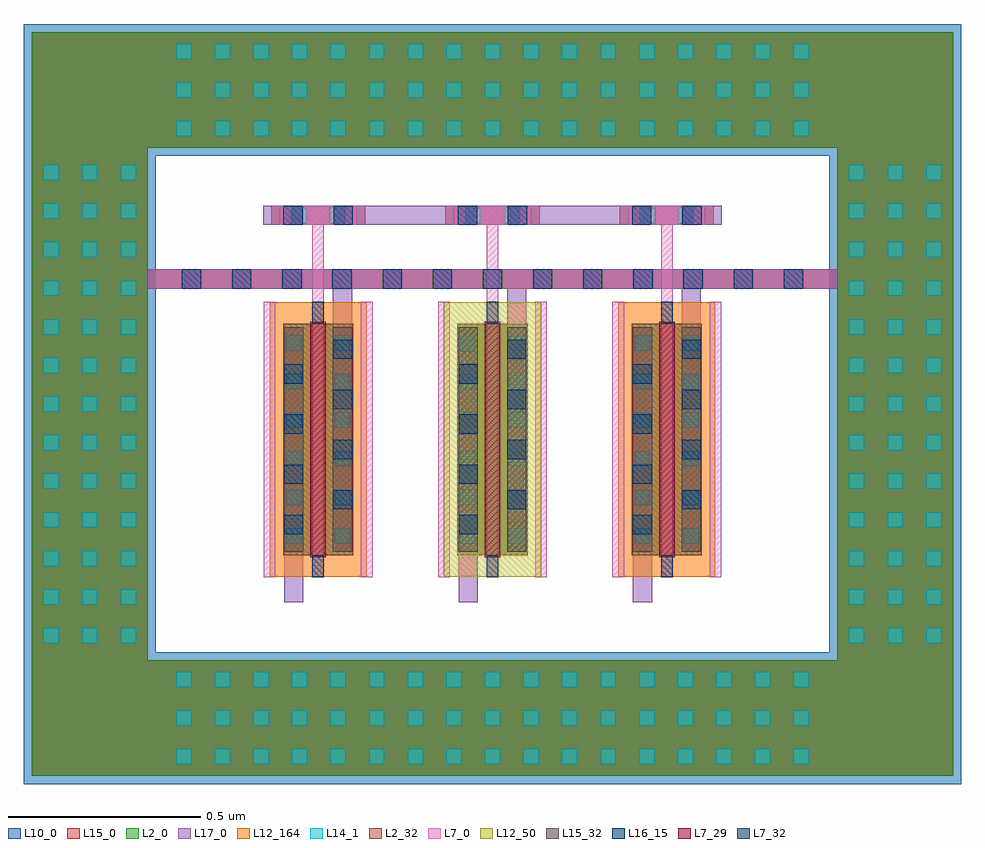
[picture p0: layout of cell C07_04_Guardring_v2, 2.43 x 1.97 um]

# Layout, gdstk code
import gdstk
lib = gdstk.Library(unit=1e-6, precision=1e-09)
def R(c, l, rs):  # rectangles x0, y0, x1, y1
    for r in rs: c.add(gdstk.rectangle(r[:2], r[2:], *l))
def A(c, l, x, y, w, h, nx, ny, dx, dy):  # array of equal rectangles
    R(c, l, [(x+i*dx, y+j*dy, x+i*dx+w, y+j*dy+h) for i in range(nx) for j in range(ny)])
L2_0 = (2, 0)
L2_32 = (2, 32)
L7_0 = (7, 0)
L7_29 = (7, 29)
L7_32 = (7, 32)
L10_0 = (10, 0)
L12_50 = (12, 50)
L12_164 = (12, 164)
L14_1 = (14, 1)
L15_0 = (15, 0)
L15_32 = (15, 32)
L16_15 = (16, 15)
L17_0 = (17, 0)

c07_04_guardring_v2_srf_ = lib.new_cell('C07_04_Guardring_v2:SRF_Tr12Tr3Tr10:SRF_Tr12:SRF_Source_ViaM1M2:SRF_ViaM1M2')
R(c07_04_guardring_v2_srf_, L15_0, [(0,-0.422,0.05,0.082)])
A(c07_04_guardring_v2_srf_, L16_15, 0, -0.39, 0.05, 0.05, 1, 4, 0, 0.13)
R(c07_04_guardring_v2_srf_, L17_0, [(0,-0.422,0.05,0.082)])

c_c07_04_guardring_v2_srf_ = lib.new_cell('C07_04_Guardring_v2:SRF_Tr12Tr3Tr10:SRF_Tr12:SRF_Source_ViaM1M2')
c_c07_04_guardring_v2_srf_.add(gdstk.Reference(c07_04_guardring_v2_srf_, (-0.025,0.17)))

c_c07_04_guardring_v2_srf__ = lib.new_cell('C07_04_Guardring_v2:SRF_Tr12Tr3Tr10:SRF_Tr12:SRF_Drain_ViaM1M2:SRF_ViaM1M2')
R(c_c07_04_guardring_v2_srf__, L15_0, [(0,-0.422,0.05,0.082)])
A(c_c07_04_guardring_v2_srf__, L16_15, 0, -0.39, 0.05, 0.05, 1, 4, 0, 0.13)
R(c_c07_04_guardring_v2_srf__, L17_0, [(0,-0.422,0.05,0.082)])

c_c07_04_guardring_v2_srf___ = lib.new_cell('C07_04_Guardring_v2:SRF_Tr12Tr3Tr10:SRF_Tr12:SRF_Drain_ViaM1M2')
c_c07_04_guardring_v2_srf___.add(gdstk.Reference(c_c07_04_guardring_v2_srf__, (-0.025,0.17)))

c_c07_04_guardring_v2_srf____ = lib.new_cell('C07_04_Guardring_v2:SRF_Tr12Tr3Tr10:SRF_Tr12:SRF_Gate_ViaM0Mx:SRF_ViaM0M1')
R(c_c07_04_guardring_v2_srf____, L7_0, [(-0.01,-0.004,0.15,0.044)])
R(c_c07_04_guardring_v2_srf____, L14_1, [(0,0,0.04,0.04), (0.1,0,0.14,0.04)])
R(c_c07_04_guardring_v2_srf____, L15_0, [(-0.021,-0.005,0.161,0.045)])

c_c07_04_guardring_v2_srf_____ = lib.new_cell('C07_04_Guardring_v2:SRF_Tr12Tr3Tr10:SRF_Tr12:SRF_Gate_ViaM0Mx:SRF_ViaM1M2')
R(c_c07_04_guardring_v2_srf_____, L15_0, [(-0.032,0,0.212,0.05)])
R(c_c07_04_guardring_v2_srf_____, L16_15, [(0,0,0.05,0.05), (0.13,0,0.18,0.05)])
R(c_c07_04_guardring_v2_srf_____, L17_0, [(-0.032,0,0.212,0.05)])

c_c07_04_guardring_v2_srf______ = lib.new_cell('C07_04_Guardring_v2:SRF_Tr12Tr3Tr10:SRF_Tr12:SRF_Gate_ViaM0Mx')
c_c07_04_guardring_v2_srf______.add(gdstk.Reference(c_c07_04_guardring_v2_srf____, (-0.07,-0.02)))
c_c07_04_guardring_v2_srf______.add(gdstk.Reference(c_c07_04_guardring_v2_srf_____, (-0.09,-0.025)))

c_c07_04_guardring_v2_srf_______ = lib.new_cell('C07_04_Guardring_v2:SRF_Tr12Tr3Tr10:SRF_Tr12')
R(c_c07_04_guardring_v2_srf_______, L2_0, [(-0.076,0.057,0.106,0.657)])
R(c_c07_04_guardring_v2_srf_______, L2_32, [(-0.076,0.057,0,0.657), (0.03,0.057,0.106,0.657)])
A(c_c07_04_guardring_v2_srf_______, L7_0, -0.126, 0, 0.03, 0.714, 3, 1, 0.126, 0)
R(c_c07_04_guardring_v2_srf_______, L7_0, [(0,0.714,0.03,0.914), (-0.085,0.914,0.115,0.962)])
R(c_c07_04_guardring_v2_srf_______, L7_29, [(-0.005,0.052,0.035,0.662)])
R(c_c07_04_guardring_v2_srf_______, L7_32, [(0,0,0.03,0.057), (0,0.657,0.03,0.714)])
R(c_c07_04_guardring_v2_srf_______, L12_164, [(-0.111,0.001,0.141,0.713)])
A(c_c07_04_guardring_v2_srf_______, L14_1, -0.068, 0.087, 0.04, 0.04, 1, 6, 0, 0.1)
A(c_c07_04_guardring_v2_srf_______, L14_1, 0.058, 0.087, 0.04, 0.04, 1, 6, 0, 0.1)
R(c_c07_04_guardring_v2_srf_______, L15_0, [(-0.073,0.066,-0.023,0.648), (-0.073,0.066,-0.023,0.648), (0.053,0.066,0.103,0.648), (0.053,0.066,0.103,0.648)])
R(c_c07_04_guardring_v2_srf_______, L15_32, [(-0.073,0.066,-0.023,0.648), (0.053,0.066,0.103,0.648)])
R(c_c07_04_guardring_v2_srf_______, L17_0, [(-0.073,-0.065,-0.023,-0.015), (-0.073,-0.015,-0.023,0.584), (0.053,0.648,0.103,0.748), (0.053,0.748,0.103,0.798), (-0.127,0.913,0.157,0.963)])
c_c07_04_guardring_v2_srf_______.add(gdstk.Reference(c_c07_04_guardring_v2_srf_, (-0.048,0.332)))
c_c07_04_guardring_v2_srf_______.add(gdstk.Reference(c_c07_04_guardring_v2_srf___, (0.078,0.396)))
c_c07_04_guardring_v2_srf_______.add(gdstk.Reference(c_c07_04_guardring_v2_srf______, (0.015,0.938)))

c_c07_04_guardring_v2_srf________ = lib.new_cell('C07_04_Guardring_v2:SRF_Tr12Tr3Tr10:SRF_Tr3:SRF_Source_ViaM1M2:SRF_ViaM1M2')
R(c_c07_04_guardring_v2_srf________, L15_0, [(0,-0.422,0.05,0.082)])
A(c_c07_04_guardring_v2_srf________, L16_15, 0, -0.39, 0.05, 0.05, 1, 4, 0, 0.13)
R(c_c07_04_guardring_v2_srf________, L17_0, [(0,-0.422,0.05,0.082)])

c_c07_04_guardring_v2_srf_________ = lib.new_cell('C07_04_Guardring_v2:SRF_Tr12Tr3Tr10:SRF_Tr3:SRF_Source_ViaM1M2')
c_c07_04_guardring_v2_srf_________.add(gdstk.Reference(c_c07_04_guardring_v2_srf________, (-0.025,0.17)))

c_c07_04_guardring_v2_srf__________ = lib.new_cell('C07_04_Guardring_v2:SRF_Tr12Tr3Tr10:SRF_Tr3:SRF_Drain_ViaM1M2:SRF_ViaM1M2')
R(c_c07_04_guardring_v2_srf__________, L15_0, [(0,-0.422,0.05,0.082)])
A(c_c07_04_guardring_v2_srf__________, L16_15, 0, -0.39, 0.05, 0.05, 1, 4, 0, 0.13)
R(c_c07_04_guardring_v2_srf__________, L17_0, [(0,-0.422,0.05,0.082)])

c_c07_04_guardring_v2_srf___________ = lib.new_cell('C07_04_Guardring_v2:SRF_Tr12Tr3Tr10:SRF_Tr3:SRF_Drain_ViaM1M2')
c_c07_04_guardring_v2_srf___________.add(gdstk.Reference(c_c07_04_guardring_v2_srf__________, (-0.025,0.17)))

c_c07_04_guardring_v2_srf____________ = lib.new_cell('C07_04_Guardring_v2:SRF_Tr12Tr3Tr10:SRF_Tr3:SRF_Gate_ViaM0Mx:SRF_ViaM0M1')
R(c_c07_04_guardring_v2_srf____________, L7_0, [(-0.01,-0.004,0.15,0.044)])
R(c_c07_04_guardring_v2_srf____________, L14_1, [(0,0,0.04,0.04), (0.1,0,0.14,0.04)])
R(c_c07_04_guardring_v2_srf____________, L15_0, [(-0.021,-0.005,0.161,0.045)])

c_c07_04_guardring_v2_srf_____________ = lib.new_cell('C07_04_Guardring_v2:SRF_Tr12Tr3Tr10:SRF_Tr3:SRF_Gate_ViaM0Mx:SRF_ViaM1M2')
R(c_c07_04_guardring_v2_srf_____________, L15_0, [(-0.032,0,0.212,0.05)])
R(c_c07_04_guardring_v2_srf_____________, L16_15, [(0,0,0.05,0.05), (0.13,0,0.18,0.05)])
R(c_c07_04_guardring_v2_srf_____________, L17_0, [(-0.032,0,0.212,0.05)])

c_c07_04_guardring_v2_srf______________ = lib.new_cell('C07_04_Guardring_v2:SRF_Tr12Tr3Tr10:SRF_Tr3:SRF_Gate_ViaM0Mx')
c_c07_04_guardring_v2_srf______________.add(gdstk.Reference(c_c07_04_guardring_v2_srf____________, (-0.07,-0.02)))
c_c07_04_guardring_v2_srf______________.add(gdstk.Reference(c_c07_04_guardring_v2_srf_____________, (-0.09,-0.025)))

c_c07_04_guardring_v2_srf_______________ = lib.new_cell('C07_04_Guardring_v2:SRF_Tr12Tr3Tr10:SRF_Tr3')
R(c_c07_04_guardring_v2_srf_______________, L2_0, [(-0.076,0.057,0.106,0.657)])
R(c_c07_04_guardring_v2_srf_______________, L2_32, [(-0.076,0.057,0,0.657), (0.03,0.057,0.106,0.657)])
A(c_c07_04_guardring_v2_srf_______________, L7_0, -0.126, 0, 0.03, 0.714, 3, 1, 0.126, 0)
R(c_c07_04_guardring_v2_srf_______________, L7_0, [(0,0.714,0.03,0.914), (-0.085,0.914,0.115,0.962)])
R(c_c07_04_guardring_v2_srf_______________, L7_29, [(-0.005,0.052,0.035,0.662)])
R(c_c07_04_guardring_v2_srf_______________, L7_32, [(0,0,0.03,0.057), (0,0.657,0.03,0.714)])
R(c_c07_04_guardring_v2_srf_______________, L12_50, [(-0.111,0.001,0.141,0.713)])
A(c_c07_04_guardring_v2_srf_______________, L14_1, -0.068, 0.087, 0.04, 0.04, 1, 6, 0, 0.1)
A(c_c07_04_guardring_v2_srf_______________, L14_1, 0.058, 0.087, 0.04, 0.04, 1, 6, 0, 0.1)
R(c_c07_04_guardring_v2_srf_______________, L15_0, [(-0.073,0.066,-0.023,0.648), (-0.073,0.066,-0.023,0.648), (0.053,0.066,0.103,0.648), (0.053,0.066,0.103,0.648)])
R(c_c07_04_guardring_v2_srf_______________, L15_32, [(-0.073,0.066,-0.023,0.648), (0.053,0.066,0.103,0.648)])
R(c_c07_04_guardring_v2_srf_______________, L17_0, [(-0.073,-0.065,-0.023,-0.015), (-0.073,-0.015,-0.023,0.584), (0.053,0.648,0.103,0.748), (0.053,0.748,0.103,0.798), (-0.127,0.913,0.157,0.963)])
c_c07_04_guardring_v2_srf_______________.add(gdstk.Reference(c_c07_04_guardring_v2_srf_________, (-0.048,0.332)))
c_c07_04_guardring_v2_srf_______________.add(gdstk.Reference(c_c07_04_guardring_v2_srf___________, (0.078,0.396)))
c_c07_04_guardring_v2_srf_______________.add(gdstk.Reference(c_c07_04_guardring_v2_srf______________, (0.015,0.938)))

c_c07_04_guardring_v2_srf________________ = lib.new_cell('C07_04_Guardring_v2:SRF_Tr12Tr3Tr10:SRF_Tr10:SRF_Source_ViaM1M2:SRF_ViaM1M2')
R(c_c07_04_guardring_v2_srf________________, L15_0, [(0,-0.422,0.05,0.082)])
A(c_c07_04_guardring_v2_srf________________, L16_15, 0, -0.39, 0.05, 0.05, 1, 4, 0, 0.13)
R(c_c07_04_guardring_v2_srf________________, L17_0, [(0,-0.422,0.05,0.082)])

c_c07_04_guardring_v2_srf_________________ = lib.new_cell('C07_04_Guardring_v2:SRF_Tr12Tr3Tr10:SRF_Tr10:SRF_Source_ViaM1M2')
c_c07_04_guardring_v2_srf_________________.add(gdstk.Reference(c_c07_04_guardring_v2_srf________________, (-0.025,0.17)))

c_c07_04_guardring_v2_srf__________________ = lib.new_cell('C07_04_Guardring_v2:SRF_Tr12Tr3Tr10:SRF_Tr10:SRF_Drain_ViaM1M2:SRF_ViaM1M2')
R(c_c07_04_guardring_v2_srf__________________, L15_0, [(0,-0.422,0.05,0.082)])
A(c_c07_04_guardring_v2_srf__________________, L16_15, 0, -0.39, 0.05, 0.05, 1, 4, 0, 0.13)
R(c_c07_04_guardring_v2_srf__________________, L17_0, [(0,-0.422,0.05,0.082)])

c_c07_04_guardring_v2_srf___________________ = lib.new_cell('C07_04_Guardring_v2:SRF_Tr12Tr3Tr10:SRF_Tr10:SRF_Drain_ViaM1M2')
c_c07_04_guardring_v2_srf___________________.add(gdstk.Reference(c_c07_04_guardring_v2_srf__________________, (-0.025,0.17)))

c_c07_04_guardring_v2_srf____________________ = lib.new_cell('C07_04_Guardring_v2:SRF_Tr12Tr3Tr10:SRF_Tr10:SRF_Gate_ViaM0Mx:SRF_ViaM0M1')
R(c_c07_04_guardring_v2_srf____________________, L7_0, [(-0.01,-0.004,0.15,0.044)])
R(c_c07_04_guardring_v2_srf____________________, L14_1, [(0,0,0.04,0.04), (0.1,0,0.14,0.04)])
R(c_c07_04_guardring_v2_srf____________________, L15_0, [(-0.021,-0.005,0.161,0.045)])

c_c07_04_guardring_v2_srf_____________________ = lib.new_cell('C07_04_Guardring_v2:SRF_Tr12Tr3Tr10:SRF_Tr10:SRF_Gate_ViaM0Mx:SRF_ViaM1M2')
R(c_c07_04_guardring_v2_srf_____________________, L15_0, [(-0.032,0,0.212,0.05)])
R(c_c07_04_guardring_v2_srf_____________________, L16_15, [(0,0,0.05,0.05), (0.13,0,0.18,0.05)])
R(c_c07_04_guardring_v2_srf_____________________, L17_0, [(-0.032,0,0.212,0.05)])

c_c07_04_guardring_v2_srf______________________ = lib.new_cell('C07_04_Guardring_v2:SRF_Tr12Tr3Tr10:SRF_Tr10:SRF_Gate_ViaM0Mx')
c_c07_04_guardring_v2_srf______________________.add(gdstk.Reference(c_c07_04_guardring_v2_srf____________________, (-0.07,-0.02)))
c_c07_04_guardring_v2_srf______________________.add(gdstk.Reference(c_c07_04_guardring_v2_srf_____________________, (-0.09,-0.025)))

c_c07_04_guardring_v2_srf_______________________ = lib.new_cell('C07_04_Guardring_v2:SRF_Tr12Tr3Tr10:SRF_Tr10')
R(c_c07_04_guardring_v2_srf_______________________, L2_0, [(-0.076,0.057,0.106,0.657)])
R(c_c07_04_guardring_v2_srf_______________________, L2_32, [(-0.076,0.057,0,0.657), (0.03,0.057,0.106,0.657)])
A(c_c07_04_guardring_v2_srf_______________________, L7_0, -0.126, 0, 0.03, 0.714, 3, 1, 0.126, 0)
R(c_c07_04_guardring_v2_srf_______________________, L7_0, [(0,0.714,0.03,0.914), (-0.085,0.914,0.115,0.962)])
R(c_c07_04_guardring_v2_srf_______________________, L7_29, [(-0.005,0.052,0.035,0.662)])
R(c_c07_04_guardring_v2_srf_______________________, L7_32, [(0,0,0.03,0.057), (0,0.657,0.03,0.714)])
R(c_c07_04_guardring_v2_srf_______________________, L12_164, [(-0.111,0.001,0.141,0.713)])
A(c_c07_04_guardring_v2_srf_______________________, L14_1, -0.068, 0.087, 0.04, 0.04, 1, 6, 0, 0.1)
A(c_c07_04_guardring_v2_srf_______________________, L14_1, 0.058, 0.087, 0.04, 0.04, 1, 6, 0, 0.1)
R(c_c07_04_guardring_v2_srf_______________________, L15_0, [(-0.073,0.066,-0.023,0.648), (-0.073,0.066,-0.023,0.648), (0.053,0.066,0.103,0.648), (0.053,0.066,0.103,0.648)])
R(c_c07_04_guardring_v2_srf_______________________, L15_32, [(-0.073,0.066,-0.023,0.648), (0.053,0.066,0.103,0.648)])
R(c_c07_04_guardring_v2_srf_______________________, L17_0, [(-0.073,-0.065,-0.023,-0.015), (-0.073,-0.015,-0.023,0.584), (0.053,0.648,0.103,0.748), (0.053,0.748,0.103,0.798), (-0.127,0.913,0.157,0.963)])
c_c07_04_guardring_v2_srf_______________________.add(gdstk.Reference(c_c07_04_guardring_v2_srf_________________, (-0.048,0.332)))
c_c07_04_guardring_v2_srf_______________________.add(gdstk.Reference(c_c07_04_guardring_v2_srf___________________, (0.078,0.396)))
c_c07_04_guardring_v2_srf_______________________.add(gdstk.Reference(c_c07_04_guardring_v2_srf______________________, (0.015,0.938)))

c_c07_04_guardring_v2_srf________________________ = lib.new_cell('C07_04_Guardring_v2:SRF_Tr12Tr3Tr10')
c_c07_04_guardring_v2_srf________________________.add(gdstk.Reference(c_c07_04_guardring_v2_srf_______, (0,0)))
c_c07_04_guardring_v2_srf________________________.add(gdstk.Reference(c_c07_04_guardring_v2_srf_______________, (0.452,0)))
c_c07_04_guardring_v2_srf________________________.add(gdstk.Reference(c_c07_04_guardring_v2_srf_______________________, (0.904,0)))

c07_04_guardring_v2__pbo = lib.new_cell('C07_04_Guardring_v2:_Pbodyring:SRF_PbodyTop:SRF_PbodyContactPhyLen')
R(c07_04_guardring_v2__pbo, L2_0, [(-0.074,-0.23,1.714,0.07)])
R(c07_04_guardring_v2__pbo, L10_0, [(-0.095,-0.251,1.735,0.091)])
A(c07_04_guardring_v2__pbo, L14_1, 0, -0.2, 0.04, 0.04, 17, 3, 0.1, 0.1)
R(c07_04_guardring_v2__pbo, L15_0, [(-0.074,-0.23,1.714,0.07)])

c_c07_04_guardring_v2__pbo = lib.new_cell('C07_04_Guardring_v2:_Pbodyring:SRF_PbodyTop')
c_c07_04_guardring_v2__pbo.add(gdstk.Reference(c07_04_guardring_v2__pbo, (0,0)))

c_c07_04_guardring_v2__pbo_ = lib.new_cell('C07_04_Guardring_v2:_Pbodyring:SRF_PbodyBottom:SRF_PbodyContactPhyLen')
R(c_c07_04_guardring_v2__pbo_, L2_0, [(-0.074,-0.23,1.714,0.07)])
R(c_c07_04_guardring_v2__pbo_, L10_0, [(-0.095,-0.251,1.735,0.091)])
A(c_c07_04_guardring_v2__pbo_, L14_1, 0, -0.2, 0.04, 0.04, 17, 3, 0.1, 0.1)
R(c_c07_04_guardring_v2__pbo_, L15_0, [(-0.074,-0.23,1.714,0.07)])

c_c07_04_guardring_v2__pbo__ = lib.new_cell('C07_04_Guardring_v2:_Pbodyring:SRF_PbodyBottom')
c_c07_04_guardring_v2__pbo__.add(gdstk.Reference(c_c07_04_guardring_v2__pbo_, (0,0)))

c_c07_04_guardring_v2__pbo___ = lib.new_cell('C07_04_Guardring_v2:_Pbodyring:SRF_PbodyLeft:SRF_PbodyContactPhyLen')
R(c_c07_04_guardring_v2__pbo___, L2_0, [(-0.03,-1.244,0.27,0.084)])
R(c_c07_04_guardring_v2__pbo___, L10_0, [(-0.051,-1.265,0.291,0.105)])
A(c_c07_04_guardring_v2__pbo___, L14_1, 0, -1.2, 0.04, 0.04, 3, 13, 0.1, 0.1)
R(c_c07_04_guardring_v2__pbo___, L15_0, [(-0.03,-1.244,0.27,0.084)])

c_c07_04_guardring_v2__pbo____ = lib.new_cell('C07_04_Guardring_v2:_Pbodyring:SRF_PbodyLeft')
c_c07_04_guardring_v2__pbo____.add(gdstk.Reference(c_c07_04_guardring_v2__pbo___, (0,0)))

c_c07_04_guardring_v2__pbo_____ = lib.new_cell('C07_04_Guardring_v2:_Pbodyring:SRF_PbodyRight:SRF_PbodyContactPhyLen')
R(c_c07_04_guardring_v2__pbo_____, L2_0, [(-0.03,-1.244,0.27,0.084)])
R(c_c07_04_guardring_v2__pbo_____, L10_0, [(-0.051,-1.265,0.291,0.105)])
A(c_c07_04_guardring_v2__pbo_____, L14_1, 0, -1.2, 0.04, 0.04, 3, 13, 0.1, 0.1)
R(c_c07_04_guardring_v2__pbo_____, L15_0, [(-0.03,-1.244,0.27,0.084)])

c_c07_04_guardring_v2__pbo______ = lib.new_cell('C07_04_Guardring_v2:_Pbodyring:SRF_PbodyRight')
c_c07_04_guardring_v2__pbo______.add(gdstk.Reference(c_c07_04_guardring_v2__pbo_____, (0,0)))

c_c07_04_guardring_v2__pbo_______ = lib.new_cell('C07_04_Guardring_v2:_Pbodyring')
R(c_c07_04_guardring_v2__pbo_______, L2_0, [(-0.374,-1.858,2.014,-1.558), (-0.374,-1.858,-0.074,0.07), (1.714,-1.858,2.014,0.07), (-0.374,-0.23,2.014,0.07)])
R(c_c07_04_guardring_v2__pbo_______, L10_0, [(-0.395,-1.879,2.035,-1.537), (-0.395,-1.879,-0.053,0.091), (1.693,-1.879,2.035,0.091), (-0.395,-0.251,2.035,0.091)])
R(c_c07_04_guardring_v2__pbo_______, L15_0, [(-0.374,-1.858,2.014,-1.558), (-0.374,-1.858,-0.074,0.07), (1.714,-1.858,2.014,0.07), (-0.374,-0.23,2.014,0.07)])
c_c07_04_guardring_v2__pbo_______.add(gdstk.Reference(c_c07_04_guardring_v2__pbo, (0,0)))
c_c07_04_guardring_v2__pbo_______.add(gdstk.Reference(c_c07_04_guardring_v2__pbo__, (0,-1.628)))
c_c07_04_guardring_v2__pbo_______.add(gdstk.Reference(c_c07_04_guardring_v2__pbo____, (-0.344,-0.314)))
c_c07_04_guardring_v2__pbo_______.add(gdstk.Reference(c_c07_04_guardring_v2__pbo______, (1.744,-0.314)))

c_c07_04_guardring_v2_srf_________________________ = lib.new_cell('C07_04_Guardring_v2:SRF_Tr12Tr3Tr10_Drain_ViaM1M2:SRF_ViaM1M2')
R(c_c07_04_guardring_v2_srf_________________________, L15_0, [(-0.032,0,1.642,0.05)])
A(c_c07_04_guardring_v2_srf_________________________, L16_15, 0, 0, 0.05, 0.05, 13, 1, 0.13, 0)
R(c_c07_04_guardring_v2_srf_________________________, L17_0, [(-0.032,0,1.642,0.05)])

c_c07_04_guardring_v2_srf__________________________ = lib.new_cell('C07_04_Guardring_v2:SRF_Tr12Tr3Tr10_Drain_ViaM1M2')
c_c07_04_guardring_v2_srf__________________________.add(gdstk.Reference(c_c07_04_guardring_v2_srf_________________________, (-0.805,-0.025)))

c07_04_guardring_v2 = lib.new_cell('C07_04_Guardring_v2')
R(c07_04_guardring_v2, L15_0, [(-0.427,0.748,1.361,0.798)])
R(c07_04_guardring_v2, L17_0, [(-0.427,0.748,1.361,0.798), (-0.127,0.913,1.061,0.963)])
c07_04_guardring_v2.add(gdstk.Reference(c_c07_04_guardring_v2_srf________________________, (0,0)))
c07_04_guardring_v2.add(gdstk.Reference(c_c07_04_guardring_v2__pbo_______, (-0.353,1.343)))
c07_04_guardring_v2.add(gdstk.Reference(c_c07_04_guardring_v2_srf__________________________, (0.467,0.773)))

lib.write_gds('C07_04_Guardring_v2.gds')
